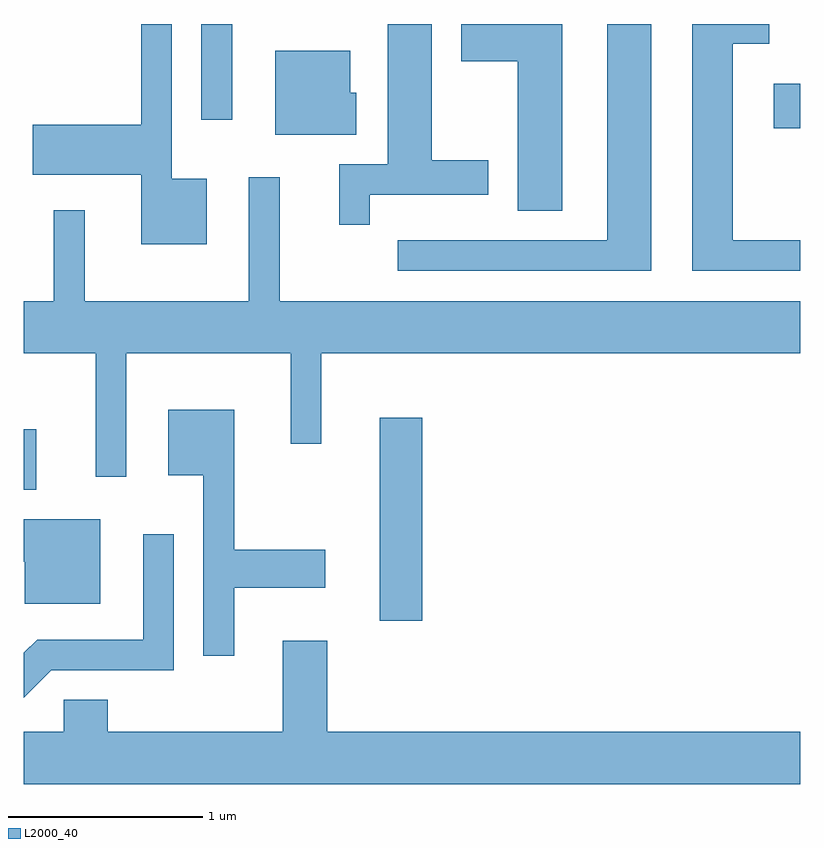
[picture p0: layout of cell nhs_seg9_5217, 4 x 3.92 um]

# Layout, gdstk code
import gdstk
lib = gdstk.Library(unit=1e-6, precision=1e-09)
def R(c, l, rs):  # rectangles x0, y0, x1, y1
    for r in rs: c.add(gdstk.rectangle(r[:2], r[2:], *l))
def P(c, l, *ps):  # polygons
    for p in ps: c.add(gdstk.Polygon(p, *l))
L2000_40 = (2000, 40)

nhs_seg9_5217 = lib.new_cell('nhs_seg9_5217')
R(nhs_seg9_5217, L2000_40, [(341.446,1959.356,341.664,1960.404), (339.611,1960.031,339.674,1960.343), (343.476,1961.896,343.611,1962.124), (340.526,1961.938,340.684,1962.432)])
P(nhs_seg9_5217, L2000_40, [(340.554,1961.634),(340.374,1961.634),(340.374,1962.432),(340.216,1962.432),(340.216,1961.914),(339.656,1961.914),(339.656,1961.656),(340.216,1961.656),(340.216,1961.296),(340.554,1961.296)],
  [(341.394,1961.551),(342.004,1961.551),(342.004,1961.729),(341.714,1961.729),(341.714,1962.432),(341.486,1962.432),(341.486,1961.709),(341.236,1961.709),(341.236,1961.398),(341.394,1961.398)],
  [(342.844,1962.432),(342.616,1962.432),(342.616,1961.319),(341.538,1961.319),(341.538,1961.161),(342.844,1961.161)],
  [(342.384,1962.432),(341.866,1962.432),(341.866,1962.241),(342.156,1962.241),(342.156,1961.471),(342.384,1961.471)],
  [(343.611,1961.319),(343.264,1961.319),(343.264,1962.331),(343.453,1962.331),(343.453,1962.432),(343.056,1962.432),(343.056,1961.161),(343.611,1961.161)],
  [(341.324,1962.079),(341.294,1962.079),(341.294,1962.294),(340.906,1962.294),(340.906,1961.861),(341.324,1961.861)],
  [(340.139,1960.736),(340.986,1960.736),(340.986,1960.268),(341.144,1960.268),(341.144,1960.736),(343.611,1960.736),(343.611,1961.004),(340.929,1961.004),(340.929,1961.643),(340.771,1961.643),(340.771,1961.004),(339.924,1961.004),(339.924,1961.473),(339.766,1961.473),(339.766,1961.004),(339.611,1961.004),(339.611,1960.736),(339.981,1960.736),(339.981,1960.098),(340.139,1960.098)],
  [(340.694,1959.526),(341.164,1959.526),(341.164,1959.724),(340.694,1959.724),(340.694,1960.444),(340.356,1960.444),(340.356,1960.106),(340.536,1960.106),(340.536,1959.178),(340.694,1959.178)],
  [(340.004,1959.879),(339.611,1959.879),(339.611,1959.661),(339.616,1959.661),(339.616,1959.446),(340.004,1959.446)],
  [(339.752,1959.101),(340.384,1959.101),(340.384,1959.803),(340.226,1959.803),(340.226,1959.259),(339.679,1959.259),(339.611,1959.191),(339.611,1958.96)],
  [(343.611,1958.784),(341.174,1958.784),(341.174,1959.254),(340.946,1959.254),(340.946,1958.784),(340.044,1958.784),(340.044,1958.949),(339.816,1958.949),(339.816,1958.784),(339.611,1958.784),(339.611,1958.516),(343.611,1958.516)])

lib.write_gds('nhs_seg9_5217.gds')
